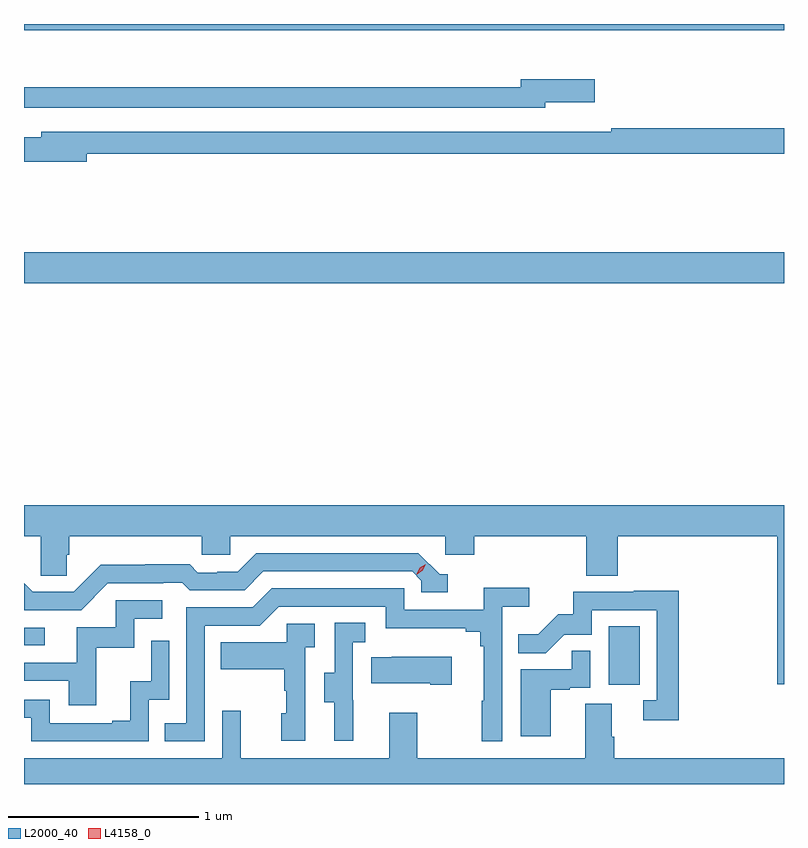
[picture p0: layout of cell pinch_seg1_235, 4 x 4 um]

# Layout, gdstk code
import gdstk
lib = gdstk.Library(unit=1e-6, precision=1e-09)
def R(c, l, rs):  # rectangles x0, y0, x1, y1
    for r in rs: c.add(gdstk.rectangle(r[:2], r[2:], *l))
def P(c, l, *ps):  # polygons
    for p in ps: c.add(gdstk.Polygon(p, *l))
L2000_40 = (2000, 40)
L4158_0 = (4158, 0)

pinch_seg1_235 = lib.new_cell('pinch_seg1_235')
R(pinch_seg1_235, L2000_40, [(914.168,566.934,914.332,567.241), (911.091,567.141,911.2,567.234), (911.091,569.048,915.091,569.212), (911.091,570.38,915.091,570.412)])
P(pinch_seg1_235, L2000_40, [(913.834,569.999),(914.095,569.999),(914.095,570.121),(913.706,570.121),(913.706,570.079),(911.091,570.079),(911.091,569.97),(913.834,569.97)],
  [(911.422,569.728),(915.091,569.728),(915.091,569.864),(914.182,569.864),(914.182,569.845),(913.93,569.845),(913.93,569.844),(911.183,569.844),(911.183,569.815),(911.091,569.815),(911.091,569.686),(911.422,569.686)],
  [(915.091,567.88),(911.091,567.88),(911.091,567.716),(911.178,567.716),(911.178,567.508),(911.315,567.508),(911.315,567.618),(911.33,567.618),(911.33,567.716),(912.027,567.716),(912.027,567.618),(912.177,567.618),(912.177,567.716),(913.308,567.716),(913.308,567.618),(913.46,567.618),(913.46,567.716),(914.051,567.716),(914.051,567.508),(914.216,567.508),(914.216,567.716),(915.056,567.716),(915.056,566.937),(915.091,566.937)],
  [(911.532,567.468),(911.825,567.468),(911.825,567.471),(911.924,567.471),(911.963,567.432),(912.252,567.432),(912.351,567.531),(913.134,567.531),(913.182,567.483),(913.182,567.42),(913.321,567.42),(913.321,567.516),(913.278,567.516),(913.167,567.627),(912.314,567.627),(912.215,567.528),(912.108,567.528),(912.108,567.525),(912.005,567.525),(911.963,567.568),(911.73,567.568),(911.73,567.565),(911.494,567.565),(911.352,567.423),(911.136,567.423),(911.091,567.468),(911.091,567.327),(911.391,567.327)],
  [(912.042,567.246),(912.333,567.246),(912.432,567.345),(912.996,567.345),(912.996,567.233),(913.415,567.233),(913.415,567.214),(913.492,567.214),(913.492,567.137),(913.511,567.137),(913.511,566.849),(913.5,566.849),(913.5,566.637),(913.608,566.637),(913.608,567.344),(913.75,567.344),(913.75,567.446),(913.511,567.446),(913.511,567.33),(913.092,567.33),(913.092,567.441),(912.395,567.441),(912.296,567.342),(911.946,567.342),(911.946,566.733),(911.833,566.733),(911.833,566.637),(912.042,566.637)],
  [(914.537,567.428),(914.299,567.428),(914.299,567.423),(913.981,567.423),(913.981,567.306),(913.904,567.306),(913.797,567.199),(913.693,567.199),(913.693,567.1),(913.837,567.1),(913.935,567.198),(914.079,567.198),(914.079,567.327),(914.421,567.327),(914.421,566.853),(914.349,566.853),(914.349,566.748),(914.537,566.748)],
  [(911.471,567.129),(911.67,567.129),(911.67,567.282),(911.818,567.282),(911.818,567.378),(911.574,567.378),(911.574,567.237),(911.369,567.237),(911.369,567.051),(911.091,567.051),(911.091,566.955),(911.327,566.955),(911.327,566.826),(911.471,566.826)],
  [(912.824,566.853),(912.822,566.853),(912.822,567.157),(912.886,567.157),(912.886,567.26),(912.726,567.26),(912.726,566.997),(912.671,566.997),(912.671,566.842),(912.725,566.842),(912.725,566.64),(912.824,566.64)],
  [(912.57,567.131),(912.622,567.131),(912.622,567.255),(912.474,567.255),(912.474,567.157),(912.127,567.157),(912.127,567.017),(912.462,567.017),(912.462,566.903),(912.472,566.903),(912.472,566.784),(912.446,566.784),(912.446,566.64),(912.57,566.64)],
  [(911.748,566.856),(911.856,566.856),(911.856,567.166),(911.76,567.166),(911.76,566.954),(911.651,566.954),(911.651,566.746),(911.555,566.746),(911.555,566.733),(911.226,566.733),(911.226,566.856),(911.091,566.856),(911.091,566.76),(911.13,566.76),(911.13,566.637),(911.748,566.637)],
  [(913.864,566.907),(913.964,566.907),(913.964,566.919),(914.07,566.919),(914.07,567.113),(913.975,567.113),(913.975,567.015),(913.706,567.015),(913.706,566.664),(913.864,566.664)],
  [(913.342,567.082),(913.027,567.082),(913.027,567.079),(912.919,567.079),(912.919,566.942),(913.229,566.942),(913.229,566.935),(913.342,566.935)],
  [(915.091,566.548),(914.198,566.548),(914.198,566.66),(914.185,566.66),(914.185,566.834),(914.045,566.834),(914.045,566.548),(913.161,566.548),(913.161,566.788),(913.013,566.788),(913.013,566.548),(912.233,566.548),(912.233,566.797),(912.135,566.797),(912.135,566.548),(911.091,566.548),(911.091,566.412),(915.091,566.412)])
P(pinch_seg1_235, L4158_0, [(913.159,567.515),(913.159,567.516),(913.175,567.549),(913.205,567.569),(913.205,567.569),(913.205,567.569),(913.19,567.536),(913.16,567.515)])

lib.write_gds('pinch_seg1_235.gds')
